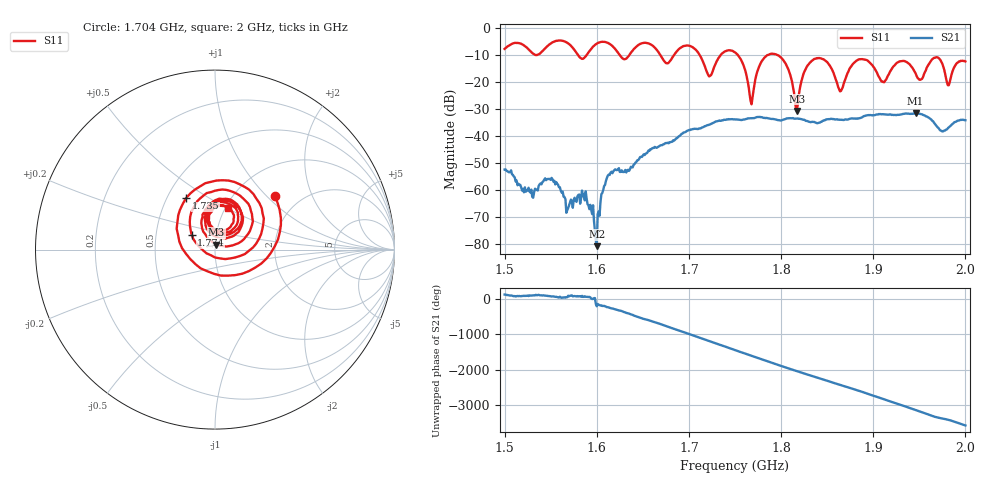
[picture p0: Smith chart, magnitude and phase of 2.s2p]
! NanoVNA-App by SYSJOINT et al v1.1.209 (+OD18)
! Date: 2026-01-21 14:43:35
! Start: 1,5GHz Stop: 2GHz Points: 501
! S-Parameter data: F S11 S21 S12 S22
# Hz S RI R 50
!  Frequency  S11_Real  S11_Imag  S21_Real  S21_Imag  S12_Real  S12_Imag  S22_Real  S22_Imag
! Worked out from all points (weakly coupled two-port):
!   501 points, 1.5 GHz to 2 GHz, reference 50 ohm
!   highest |S21| = -31.50 dB at 1.946 GHz (marker M1); lowest = -80.9 dB at 1.6 GHz (marker M2)
!   lowest |S11| = -30.6 dB at 1.817 GHz (marker M3), VSWR 1.06, Z = 50.7 + j2.88 ohm
!   |S11| at or under -10 dB: 1.712 GHz to 1.734 GHz (22.43 MHz wide, 1.3 % of centre); 1.753 GHz to 1.785 GHz (31.45 MHz wide, 1.78 % of centre); 1.797 GHz to end of sweep (the widest 3 of 6)
!   S12 and S22 are empty: the file has one direction only
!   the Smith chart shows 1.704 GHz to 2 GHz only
!   S11 on the Smith chart (normalised r, x): 1.704 GHz: 1.50, +1.12; 1.735 GHz: 0.62, +0.40; 1.774 GHz: 0.76, +0.13; 2 GHz: 1.03, +0.51
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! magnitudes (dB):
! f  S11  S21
! 1.5 GHz  -7.6  -52.4
! 1.569 GHz  -5.6  -66.7
! 1.584 GHz  -11.3  -60.2
! 1.6 GHz  -5.6  -80.9
! 1.614 GHz  -5.8  -54.4
! 1.667 GHz  -8.9  -43.9
! 1.704 GHz  -7.0  -37.4
! 1.722 GHz  -17.9  -35.8
! 1.735 GHz  -9.7  -34.3
! 1.75 GHz  -8.9  -33.8
! 1.767 GHz  -27.1  -33.4
! 1.774 GHz  -16.2  -32.9
! 1.799 GHz  -10.6  -34.2
! 1.817 GHz  -30.6  -33.5
! 1.834 GHz  -11.9  -34.7
! 1.864 GHz  -23.4  -34.0
! 1.884 GHz  -11.6  -33.4
! 1.917 GHz  -17.0  -32.1
! 1.946 GHz  -16.7  -31.5
! 1.969 GHz  -10.7  -36.4
! 1.982 GHz  -21.1  -36.7
! 2 GHz  -12.3  -34.1
